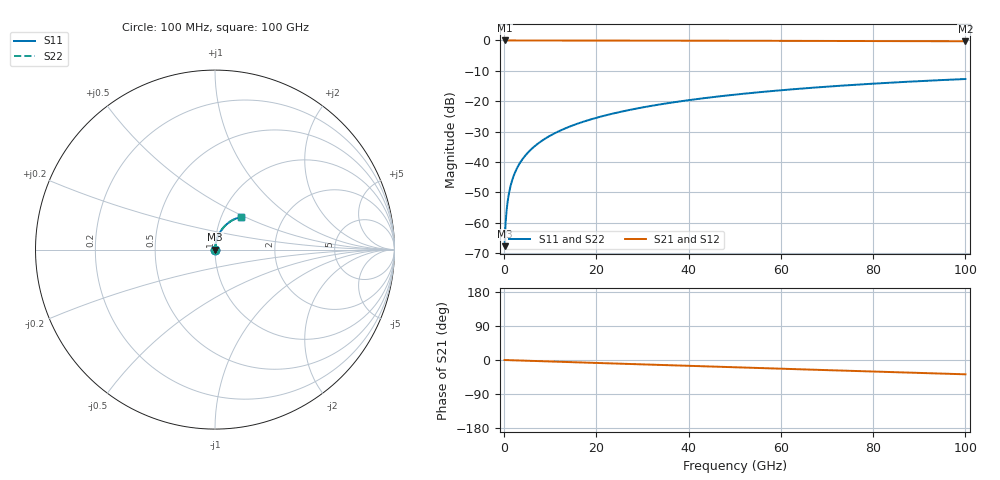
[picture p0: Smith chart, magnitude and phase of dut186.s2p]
! Touchstone file exported from HFSS 2026.1.0
!  File:  C:/ffzhzh/LocalFiles/Ansys_Project_Files/temp_train_TSV_186_1783507204_31944.aedt
!  Generated:  06:41:30 PM Jul  8, 2026
!  Design:  TSV
!  Project:  temp_train_TSV_186_1783507204_31944
! Variables:
!  h_bsmrdl = 2um
!  h_ox = 20um
!  h_rdl = 5um
!  h_sub = 68.91um
!  h_tmrdl = 5um
!  h_tsv = 68.91um
!  h_via = 3um
!  l_bsmrdl = 300um
!  l_sub = 411.42um
!  l_tmrdl = 200um
!  m_sub = 200um
!  pitch = 41.08um
!  r_tsv = 5.71um
!  s_tmrdl = 10um
!  w_bsmrdl = 18um
!  w_sub = 500um
!  w_tmrdl = 12um
!  x_tsv_center1 = 206um
!  x_tsv_center2 = 524um
!  x_tsv_center3 = 736um
!  x_tsv_center4 = 1054um
!  x_tsv_center5 = 1266um
!  x_tsv_center6 = 1584um
# GHz S MA R 50.000000
! Terminal data exported
! Port[1] = TSV1_1_T1
! Port[2] = TSV1_1_T2
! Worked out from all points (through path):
!   1000 points, 100 MHz to 100 GHz, reference 50 ohm
!   highest |S21| = 0.00 dB at 100 MHz (marker M1); lowest = -0.3 dB at 100 GHz (marker M2)
!   group delay of S21, straight-line fit = 1.05 ps
!   lowest |S11| = -67.7 dB at 100 MHz (marker M3), VSWR 1.00, Z = 50 + j0.0308 ohm
!   |S11| at or under -10 dB: start of sweep to end of sweep
!   |S22| runs from -67.7 to -12.7 dB; largest |S21 - S12| = 4.4e-15
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0.1  0.0004134 48.0  0.9997 -0.0  0.9997 -0.0  0.0004134 48.0
! Gamma 0 0 0 0
! Port Impedance 50 0 50 0
0.4  0.001221 75.2  0.9997 -0.2  0.9997 -0.2  0.001221 75.2
0.7  0.002072 80.5  0.9997 -0.3  0.9997 -0.3  0.002072 80.5
0.8  0.002358 81.3  0.9997 -0.3  0.9997 -0.3  0.002358 81.3
1.1  0.003214 82.9  0.9996 -0.4  0.9996 -0.4  0.003214 82.9
1.4  0.004066 83.7  0.9996 -0.6  0.9996 -0.6  0.004066 83.7
1.9  0.005473 84.2  0.9995 -0.8  0.9995 -0.8  0.005473 84.2
2.4  0.006861 84.5  0.9994 -1.0  0.9994 -1.0  0.006861 84.5
3  0.008506 84.6  0.9993 -1.2  0.9993 -1.2  0.008506 84.6
3.8  0.01068 84.6  0.9992 -1.5  0.9992 -1.5  0.01068 84.6
4.8  0.01336 84.6  0.9991 -1.9  0.9991 -1.9  0.01336 84.6
6  0.01657 84.4  0.9989 -2.4  0.9989 -2.4  0.01657 84.4
8.8  0.02403 83.9  0.9986 -3.4  0.9986 -3.4  0.02403 83.9
12.4  0.03356 82.9  0.9981 -4.8  0.9981 -4.8  0.03356 82.9
16.8  0.04511 81.5  0.9974 -6.5  0.9974 -6.5  0.04511 81.5
24.2  0.06431 78.9  0.9961 -9.4  0.9961 -9.4  0.06431 79.0
33.4  0.08775 75.7  0.9939 -12.9  0.9939 -12.9  0.08774 75.7
41.2  0.1071 72.8  0.9918 -15.9  0.9918 -15.9  0.1071 72.8
50.1  0.1286 69.6  0.989 -19.3  0.989 -19.3  0.1286 69.6
66.7  0.1665 63.5  0.983 -25.5  0.983 -25.5  0.1665 63.5
83.4  0.2014 57.4  0.9762 -31.7  0.9762 -31.7  0.2014 57.4
100  0.2321 51.4  0.9691 -37.8  0.9691 -37.8  0.2321 51.5
